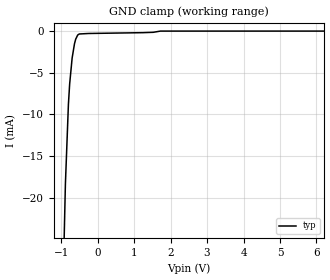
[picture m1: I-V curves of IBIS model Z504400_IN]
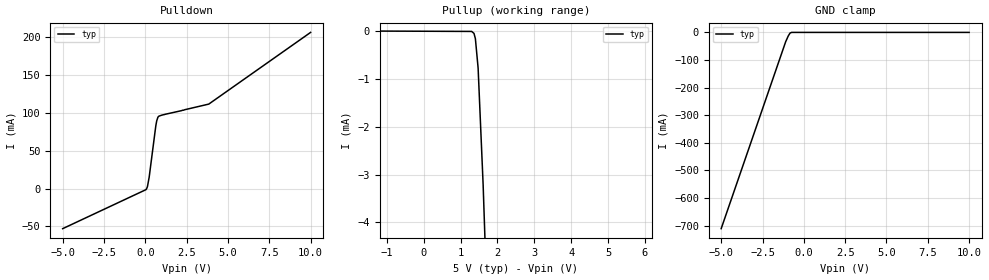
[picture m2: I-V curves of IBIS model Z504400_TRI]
| YOU ARE ONLY AUTHORIZED TO USE THIS SOFTWARE
| ACCORDING TO LICENSOR'S LICENSE RESTRICTIONS.
[IBIS Ver] 3.1
[File Name] sn54ls173aj.ibs
[File Rev] 2.0
[Source] Measured and created by ICX Technology
[Date] Friday 7/14/00 9:08:14 AM
[Copyright]
| (C) COPYRIGHT 1993-2000
| MENTOR GRAPHICS CORPORATION
| ICX STANDARD LIBRARY, ICX PROJECT MODELING,
| ICX CUSTOM MODELING, ICX VENDOR MODEL
| ALL RIGHTS RESERVED.
| THE FOLLOWING ARE TRADEMARKS OR SERVICE MARKS OF
| MENTOR GRAPHICS CORPORATION:ICX (R), ICX STANDARD
| LIBRARY(R), ICX PROJECT MODELING(R), ICX CUSTOM
| MODELING(R), qualityIBIS(TM), MODELVIEWER(TM),
| AND MODELEDITOR(TM)
| ALL COPIES OF SOFTWARE, INCLUDING BUT NOT LIMITED TO
| ANY MODIFICATIONS, ENHANCEMENTS OR DERIVATIVE WORKS,
| MUST CONTAIN ALL MENTOR GRAPHICS CORPORATION'S
| NOTICES AND LEGENDS, INCLUDING THOSE EMBEDDED IN
| SOFTWARE AND THOSE AFFIXED TO SOFTWARE MEDIUM
| AND CONTAINER, AS RECEIVED FROM MENTOR GRAPHICS
| CORPORATION.
|  ZAP Model Builder 2.7
[Component] SN54LS173AJ
[Manufacturer] OnSemiconductor
[Package]
| variable   typ   min   max
R_pkg  .212ohms NA NA
L_pkg  4.758nH NA NA
C_pkg  1.944pF NA NA
[Pin] signal_name  model_name  R_pin  L_pin C_pin
1 M Z504400_IN .224 7.258n 2.683p
2 N Z504400_IN .216 5.258n 2.19p
3 Q0 Z504400_TRI .208 3.758n 1.697p
4 Q1 Z504400_TRI .2 2.758n 1.204p
5 Q2 Z504400_TRI .2 2.758n 1.204p
6 Q3 Z504400_TRI .208 3.758n 1.697p
7 CLK Z504400_IN .216 5.258n 2.19p
8 GND GND .224 7.258n 2.683p
9 _G1 Z504400_IN .224 7.258n 2.683p
10 _G2 Z504400_IN .216 5.258n 2.19p
11 D3 Z504400_IN .208 3.758n 1.697p
12 D2 Z504400_IN .2 2.758n 1.204p
13 D1 Z504400_IN .2 2.758n 1.204p
14 D0 Z504400_IN .208 3.758n 1.697p
15 CLR Z504400_IN .216 5.258n 2.19p
16 VCC POWER .224 7.258n 2.683p
| Models and submodels in the file (2): Z504400_IN (Input), Z504400_TRI (3-state)
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| (C) COPYRIGHT 1993-2000
| MENTOR GRAPHICS CORPORATION
| ICX STANDARD LIBRARY, ICX PROJECT MODELING,
| ICX CUSTOM MODELING, ICX VENDOR MODEL
| ALL RIGHTS RESERVED.
| THE FOLLOWING ARE TRADEMARKS OR SERVICE MARKS OF
| MENTOR GRAPHICS CORPORATION:ICX (R), ICX STANDARD
| LIBRARY(R), ICX PROJECT MODELING(R), ICX CUSTOM
| MODELING(R), qualityIBIS(TM), MODELVIEWER(TM),
| AND MODELEDITOR(TM)
| ALL COPIES OF SOFTWARE, INCLUDING BUT NOT LIMITED TO
| ANY MODIFICATIONS, ENHANCEMENTS OR DERIVATIVE WORKS,
| MUST CONTAIN ALL MENTOR GRAPHICS CORPORATION'S
| NOTICES AND LEGENDS, INCLUDING THOSE EMBEDDED IN
| SOFTWARE AND THOSE AFFIXED TO SOFTWARE MEDIUM
| AND CONTAINER, AS RECEIVED FROM MENTOR GRAPHICS
| CORPORATION.
| Model Application Version 1.89 2/18/99.
[Model] Z504400_IN
Model_type Input
Vinl = 800.0mV
Vinh = 2.000V
C_comp 4.000pF NA NA
| variable typ   min   max
[Voltage Range] 5.000V NA NA
[GND Clamp Reference] 0.000V NA NA
[POWER Clamp Reference] 5.000V NA NA
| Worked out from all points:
|   GND clamp passes 1 mA (typ) near -0.60 V on its own axis
[GND Clamp]
-5V       -803.7mA   NA         NA
-882.5mV  -18.36mA   NA         NA
-799.9mV  -8.78mA    NA         NA
-766mV    -6.356mA   NA         NA
-698.2mV  -3.244mA   NA         NA
-633.5mV  -1.524mA   NA         NA
-600.6mV  -978.8uA   NA         NA
-546.8mV  -488.5uA   NA         NA
-503.1mV  -353.7uA   NA         NA
1.25V     -194.7uA   NA         NA
1.724V    -6.164uA   NA         NA
10V       -6.164uA   NA         NA
[POWER Clamp]
-5V       0A         NA         NA
10V       0A         NA         NA
| (C) COPYRIGHT 1993-2000
| MENTOR GRAPHICS CORPORATION
| ICX STANDARD LIBRARY, ICX PROJECT MODELING,
| ICX CUSTOM MODELING, ICX VENDOR MODEL
| ALL RIGHTS RESERVED.
| THE FOLLOWING ARE TRADEMARKS OR SERVICE MARKS OF
| MENTOR GRAPHICS CORPORATION:ICX (R), ICX STANDARD
| LIBRARY(R), ICX PROJECT MODELING(R), ICX CUSTOM
| MODELING(R), qualityIBIS(TM), MODELVIEWER(TM),
| AND MODELEDITOR(TM)
| ALL COPIES OF SOFTWARE, INCLUDING BUT NOT LIMITED TO
| ANY MODIFICATIONS, ENHANCEMENTS OR DERIVATIVE WORKS,
| MUST CONTAIN ALL MENTOR GRAPHICS CORPORATION'S
| NOTICES AND LEGENDS, INCLUDING THOSE EMBEDDED IN
| SOFTWARE AND THOSE AFFIXED TO SOFTWARE MEDIUM
| AND CONTAINER, AS RECEIVED FROM MENTOR GRAPHICS
| CORPORATION.
| Model Application Version 1.89 2/18/99.
[Model] Z504400_TRI
Model_type 3-state
Vref=588.0mV
Rref=588.5ohms
Cref=45.00pF
Vmeas=1.300V
C_comp 8.000pF NA NA
| variable typ   min   max
[Voltage Range] 5.000V NA NA
[POWER Clamp Reference] 5.000V NA NA
[Pullup Reference] 5.000V NA NA
[Pulldown Reference] 0.000V NA NA
[GND Clamp Reference] 0.000V NA NA
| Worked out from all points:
|   slope of the pulldown table from 0 to 0.75 V, typ, clamps not added: 7.87 ohm
|   GND clamp passes 1 mA (typ) near -0.78 V on its own axis
[GND Clamp]
-5V       -711mA     NA         NA
-1.099V   -33.97mA   NA         NA
-942.3mV  -12.96mA   NA         NA
-834.7mV  -2.571mA   NA         NA
-742mV    0A         NA         NA
10V       0A         NA         NA
[Pulldown]
-5V       -53.06mA   NA         NA
68.4mV    -736.6uA   NA         NA
127.7mV   2.412mA    NA         NA
232.8mV   14.91mA    NA         NA
634.8mV   82.89mA    NA         NA
689.6mV   89.42mA    NA         NA
763.1mV   94.33mA    NA         NA
820.5mV   95.65mA    NA         NA
3.838V    111.6mA    NA         NA
10V       206.4mA    NA         NA
[Pullup]
-5V       19.41uA    NA         NA
1.3V      905.6nA    NA         NA
1.363V    -40.22uA   NA         NA
1.401V    -151uA     NA         NA
1.475V    -767.2uA   NA         NA
1.611V    -3.21mA    NA         NA
10V       -195.4mA   NA         NA
[POWER Clamp]
-5V       0A         NA         NA
10V       0A         NA         NA
[Ramp]
| variable typ min max
dV/dt_r 1.900/5.527n NA NA
dV/dt_f 1.900/1.869n NA NA
R_load = 500.0Ohms
